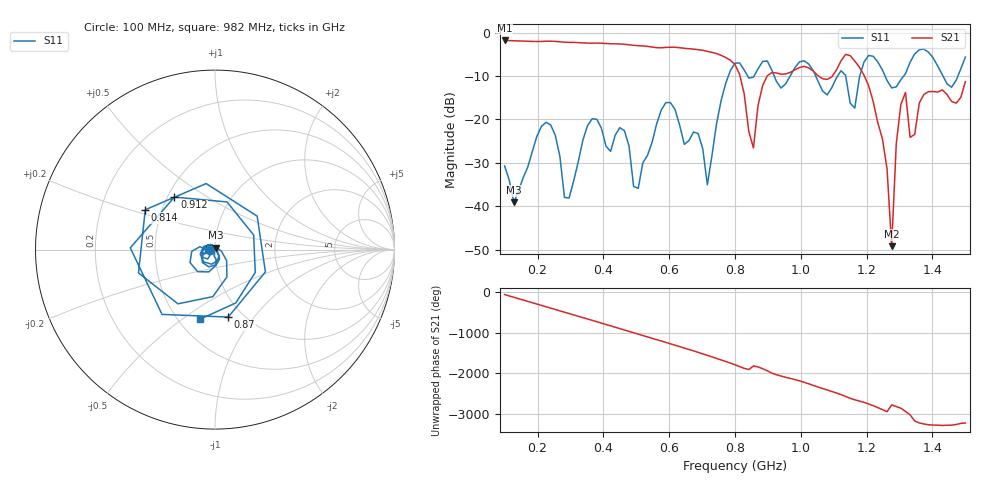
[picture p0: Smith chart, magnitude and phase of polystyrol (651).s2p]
! NanoVNA-App
! Date: 2025-09-25 15:34:57
! Start: 100MHz Stop: 1,5GHz Points: 101
! S-Parameter data: F S11 S21 S12 S22
# Hz S RI R 50
!  Frequency  S11_Real  S11_Imag  S21_Real  S21_Imag  S12_Real  S12_Imag  S22_Real  S22_Imag
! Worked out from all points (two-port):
!   101 points, 100 MHz to 1.5 GHz, reference 50 ohm
!   highest |S21| = -1.80 dB at 100 MHz (marker M1); lowest = -49.2 dB at 1.276 GHz (marker M2)
!   |S21| within 3 dB of the highest: start of sweep to 742.9 MHz
!   lowest |S11| = -39.1 dB at 128 MHz (marker M3), VSWR 1.02, Z = 50.3 + j1.06 ohm
!   |S11| at or under -10 dB: start of sweep to 779.9 MHz; 1.045 GHz to 1.112 GHz (66.54 MHz wide, 6.17 % of centre); 1.256 GHz to 1.312 GHz (56.3 MHz wide, 4.38 % of centre) (the widest 3 of 7)
!   S12 and S22 are empty: the file has one direction only
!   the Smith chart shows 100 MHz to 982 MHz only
!   S11 on the Smith chart (normalised r, x): 100 MHz: 0.94, -0.01; 814 MHz: 0.40, +0.22; 870 MHz: 0.85, -0.75; 912 MHz: 0.54, +0.37; 982 MHz: 0.64, -0.59
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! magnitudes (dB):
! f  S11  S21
! 100 MHz  -30.7  -1.8
! 128 MHz  -39.1  -1.9
! 212 MHz  -21.6  -2.0
! 282 MHz  -38.0  -2.2
! 338 MHz  -24.7  -2.4
! 506 MHz  -35.9  -3.0
! 576 MHz  -17.8  -3.5
! 716 MHz  -35.0  -4.3
! 800 MHz  -7.0  -7.4
! 814 MHz  -7.0  -9.6
! 856 MHz  -10.3  -26.5
! 870 MHz  -8.3  -16.8
! 912 MHz  -8.6  -9.2
! 982 MHz  -8.0  -8.5
! 1.038 GHz  -8.8  -8.8
! 1.192 GHz  -6.8  -9.8
! 1.248 GHz  -8.6  -24.5
! 1.276 GHz  -12.7  -49.2
! 1.29 GHz  -12.5  -25.6
! 1.318 GHz  -9.4  -13.8
! 1.332 GHz  -6.8  -24.1
! 1.5 GHz  -5.6  -11.3
